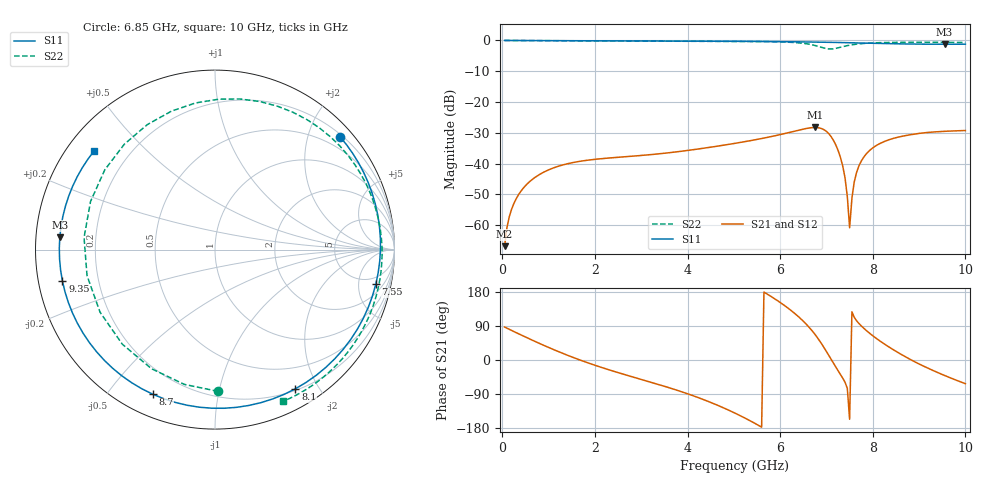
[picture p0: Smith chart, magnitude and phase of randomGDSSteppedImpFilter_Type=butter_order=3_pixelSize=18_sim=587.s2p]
! freq	dB(S11)	phase(S11)	dB(S12)	phase(S12)
!  dB(S21)	phase(S21)	dB(S22)	phase(S22)
!S-par simulation data
#  GHz  S  DB  R 50
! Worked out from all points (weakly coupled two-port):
!   200 points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, 50 MHz to 10 GHz, reference 50 ohm
!   highest |S21| = -28.28 dB at 6.75 GHz (marker M1); lowest = -66.8 dB at 50 MHz (marker M2)
!   lowest |S11| = -1.2 dB at 9.55 GHz (marker M3), VSWR 14.09, Z = 3.55 + j1.94 ohm
!   |S11| at or under -10 dB: nowhere
!   |S22| runs from -2.8 to 0.0 dB; largest |S21 - S12| = 0
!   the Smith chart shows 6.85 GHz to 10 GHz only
!   S11 on the Smith chart (normalised r, x): 6.85 GHz: 0.25, +2.60; 7.55 GHz: 3.31, -8.00; 8.1 GHz: 0.22, -1.71; 8.7 GHz: 0.09, -0.65; 9.35 GHz: 0.07, -0.10; 10 GHz: 0.08, +0.36
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0.05  -0.00 -2.7  -66.85 87.0  -66.85 87.0  -0.00 -3.3
0.2  -0.02 -10.6  -54.88 78.0  -54.88 78.0  -0.02 -13.2
0.5  -0.04 -26.1  -47.21 60.7  -47.21 60.7  -0.05 -32.5
1.75  -0.10 -86.7  -39.10 -3.3  -39.10 -3.3  -0.12 -106.6
2.6  -0.14 -122.8  -37.85 -37.0  -37.85 -37.0  -0.15 -150.0
3.4  -0.17 -154.3  -36.81 -65.6  -36.81 -65.6  -0.19 171.9
5.05  -0.27 140.1  -33.37 -141.6  -33.37 -141.6  -0.29 90.5
6.2  -0.42 83.1  -29.89 134.1  -29.89 134.1  -0.58 13.0
6.7  -0.52 52.1  -28.32 75.7  -28.32 75.7  -1.44 -53.8
6.75  -0.53 48.7  -28.28 68.0  -28.28 68.0  -1.63 -64.3
6.85  -0.55 41.8  -28.44 51.0  -28.44 51.0  -2.05 -88.7
7.15  -0.63 19.9  -32.43 -8.3  -32.43 -8.3  -2.70 174.8
7.4  -0.71 0.2  -44.55 -58.5  -44.55 -58.5  -1.84 107.4
7.5  -0.74 -8.0  -60.87 -156.4  -60.87 -156.4  -1.53 88.7
7.55  -0.76 -12.2  -51.23 127.3  -51.23 127.3  -1.40 80.6
7.7  -0.81 -24.9  -40.81 96.5  -40.81 96.5  -1.11 60.4
8.1  -0.96 -60.0  -33.93 54.9  -33.93 54.9  -0.74 23.6
8.35  -1.04 -82.3  -32.27 34.3  -32.27 34.3  -0.65 6.9
8.7  -1.14 -113.3  -30.93 8.8  -30.93 8.8  -0.59 -12.4
9.35  -1.23 -168.4  -29.71 -30.3  -29.71 -30.3  -0.59 -41.4
9.55  -1.24 175.5  -29.53 -40.8  -29.53 -40.8  -0.61 -49.3
10  -1.22 140.7  -29.27 -62.5  -29.27 -62.5  -0.66 -65.8
